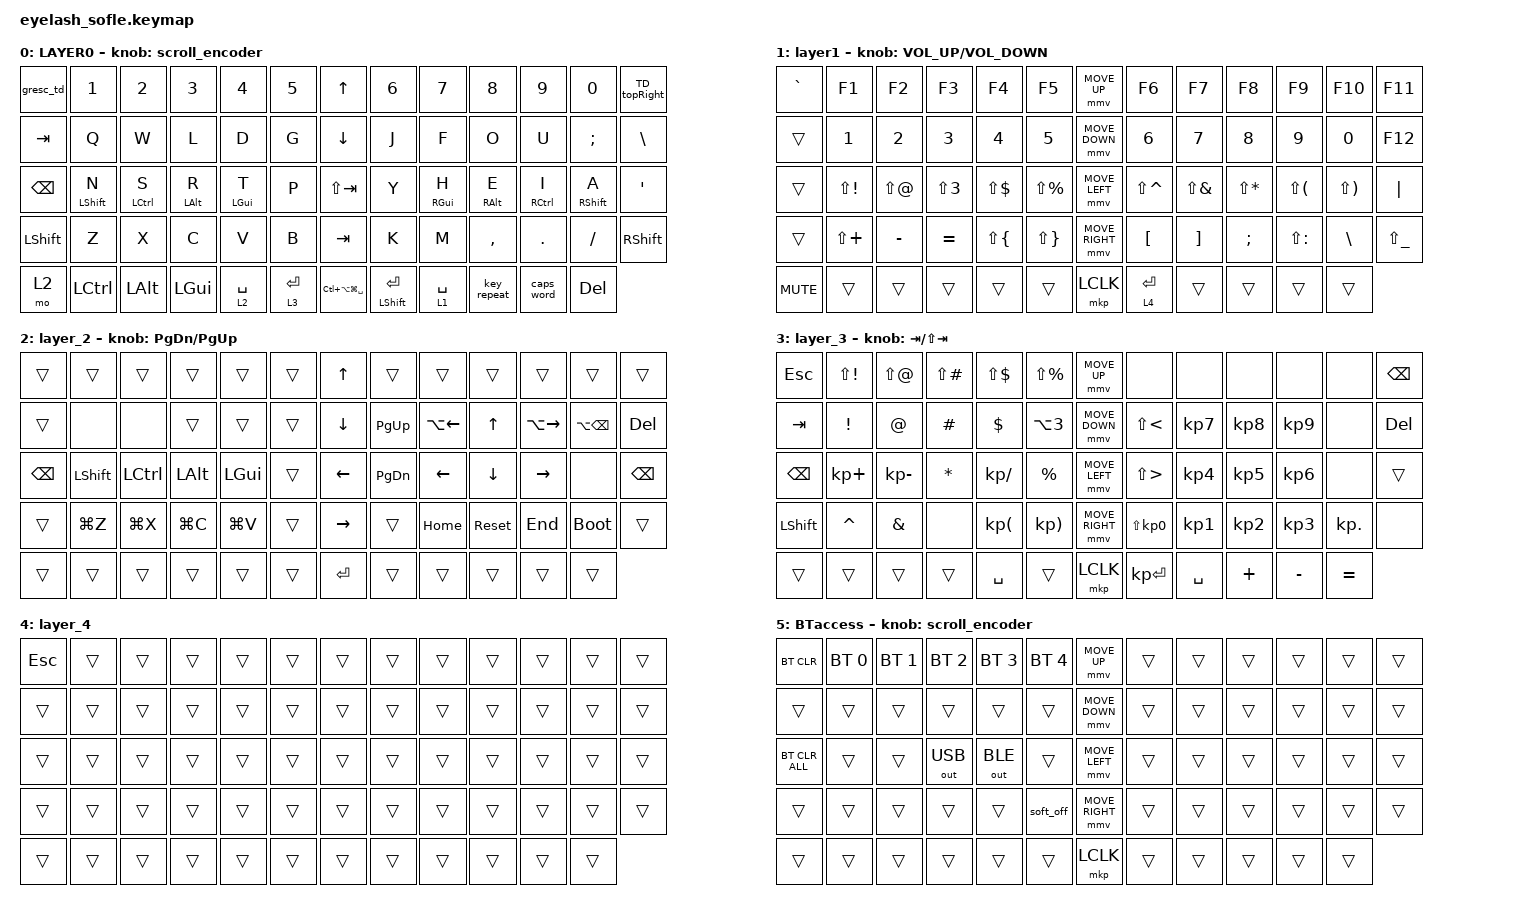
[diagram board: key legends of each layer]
#define ZMK_POINTING_DEFAULT_MOVE_VAL 1200  // 600
#define ZMK_POINTING_DEFAULT_SCRL_VAL 25   // 10

#include <input/processors.dtsi>
#include <zephyr/dt-bindings/input/input-event-codes.h>
#include <behaviors.dtsi>
#include <dt-bindings/zmk/bt.h>
#include <dt-bindings/zmk/keys.h>
#include <dt-bindings/zmk/outputs.h>
#include <dt-bindings/zmk/pointing.h>

&mmv_input_listener { input-processors = <&zip_xy_scaler 2 1>; };

&msc_input_listener { input-processors = <&zip_scroll_scaler 2 1>; };

&msc {
    acceleration-exponent = <1>;      // 0
    time-to-max-speed-ms = <100>;       // 300
    delay-ms = <0>;                   // 0
};

&mmv {
    time-to-max-speed-ms = <500>;
    acceleration-exponent = <1>;
    trigger-period-ms = <16>;
};

&gresc { keep-mods = <(MOD_LGUI|MOD_LSFT|MOD_RSFT|MOD_RGUI)>; };

&mt {
    tapping-term-ms = <165>;
    flavor = "balanced";
};

&sk {
};

/ {
    scroll_encoder: scroll_encoder {
        compatible = "zmk,behavior-sensor-rotate";
        #sensor-binding-cells = <0>;
        bindings = <&msc SCRL_UP>, <&msc SCRL_DOWN>;

        tap-ms = <100>;
        label = "mouseScroll";
    };

    gresc_td: gresc_td {
        compatible = "zmk,behavior-tap-dance";
        label = "GRESC_TD";
        #binding-cells = <0>;
        tapping-term-ms = <150>;
        bindings = <&gresc>, <&kp ESC>;
    };

    TD_topRight: TD_topRight {
        compatible = "zmk,behavior-tap-dance";
        label = "TD_TOPRIGHT";
        #binding-cells = <0>;
        bindings = <&TH_forceQuit 0 ESCAPE>, <&TH_screenEject 0 0>;
    };

    TH_forceQuit: TH_forceQuit {
        compatible = "zmk,behavior-hold-tap";
        label = "TH_FORCEQUIT";
        bindings = <&M_force_quit>, <&kp>;

        #binding-cells = <2>;
        tapping-term-ms = <350>;
    };

    TH_screenEject: TH_screenEject {
        compatible = "zmk,behavior-hold-tap";
        label = "TH_SCREENEJECT";
        bindings = <&M_ejectAll>, <&screensaver>;

        #binding-cells = <2>;
        tapping-term-ms = <300>;
    };

    TD_layerOrKey: TD_layerOrKey {
        compatible = "zmk,behavior-hold-tap";
        label = "TD_LAYERORKEY";
        bindings = <&lt>, <&sk>;

        #binding-cells = <2>;
        tapping-term-ms = <100>;
    };

    mt_l: mt_l {
        compatible = "zmk,behavior-hold-tap";
        label = "MT_L";
        bindings = <&kp>, <&kp>;

        #binding-cells = <2>;
        tapping-term-ms = <200>;
        require-prior-idle-ms = <150>;
        flavor = "balanced";
        hold-trigger-key-positions = <7 8 9 10 11 20 21 22 23 24 33 34 35 36 37 46 47 48 49 25 38 50 60 59>;
        hold-trigger-on-release;
        quick-tap-ms = <175>;
    };

    mt_r: mt_r {
        compatible = "zmk,behavior-hold-tap";
        label = "MT_R";
        bindings = <&kp>, <&kp>;

        #binding-cells = <2>;
        tapping-term-ms = <200>;
        require-prior-idle-ms = <150>;
        flavor = "balanced";
        hold-trigger-key-positions = <1 2 3 4 5 14 15 16 17 18 27 28 29 30 31 40 41 42 43 44 26 13 0 56 57>;
        hold-trigger-on-release;
        quick-tap-ms = <175>;
    };

    behaviors {
    };

    combos {
        compatible = "zmk,combos";

        CapsWord {
            bindings = <&caps_word>;
            key-positions = <39 51>;
        };

        Undo {
            bindings = <&kp LG(Z)>;
            key-positions = <40 41>;
        };

        Cut {
            bindings = <&kp LG(X)>;
            key-positions = <41 42>;
        };

        Copy {
            bindings = <&kp LG(C)>;
            key-positions = <42 43>;
        };

        Paste {
            bindings = <&kp LG(V)>;
            key-positions = <43 44>;
        };

        CreateNew {
            bindings = <&kp LG(N)>;
            key-positions = <27 28>;
        };

        SelectAll {
            bindings = <&kp LG(A)>;
            key-positions = <39 27>;
        };

        SelectAll_v2 {
            bindings = <&kp LG(A)>;
            key-positions = <51 37>;
        };

        C_force_quit {
            bindings = <&M_force_quit>;
            key-positions = <55 54 0>;
        };
    };

    macros {
        M_force_quit: M_force_quit {
            compatible = "zmk,behavior-macro";
            #binding-cells = <0>;
            bindings =
                <&macro_press>,
                <&kp LEFT_COMMAND &kp LEFT_ALT &kp ESC>,
                <&macro_release>;

            label = "M_FORCE_QUIT";
        };

        M_ejectAll: M_ejectAll {
            compatible = "zmk,behavior-macro";
            #binding-cells = <0>;
            bindings =
                <&kp LG(SPACE)>,
                <&macro_wait_time 400>,
                <&kp E &kp J &kp E &kp C &kp T &kp A &kp L &kp L>,
                <&macro_wait_time 200>,
                <&kp ENTER>;

            label = "M_EJECTALL";
        };

        screensaver: screensaver {
            compatible = "zmk,behavior-macro";
            #binding-cells = <0>;
            bindings =
                <&kp LG(SPACE)>,
                <&macro_wait_time 400>,
                <&kp S &kp C &kp R &kp E &kp E &kp N &kp S &kp A &kp V &kp E &kp R>,
                <&macro_wait_time 200>,
                <&kp ENTER>;

            label = "SCREENSAVER";
        };
    };

    keymap {
        compatible = "zmk,keymap";

        layer0 {
            bindings = <
&gresc_td      &kp N1          &kp N2         &kp N3            &kp N4        &kp N5         &kp UP_ARROW           &kp N6                &kp N7        &kp N8             &kp N9         &kp N0               &TD_topRight
&kp TAB        &kp Q           &kp W          &kp L             &kp D         &kp G          &kp DOWN_ARROW         &kp J                 &kp F         &kp O              &kp U          &kp SEMI             &kp BSLH
&kp BACKSPACE  &mt_l LSHIFT N  &mt_l LCTRL S  &mt_l LEFT_ALT R  &mt_l LGUI T  &kp P          &kp LS(TAB)            &kp Y                 &mt_r RGUI H  &mt_r RIGHT_ALT E  &mt_r RCTRL I  &mt_r RIGHT_SHIFT A  &kp SQT
&kp LSHFT      &kp Z           &kp X          &kp C             &kp V         &kp B          &kp TAB                &kp K                 &kp M         &kp COMMA          &kp DOT        &kp FSLH             &kp RSHFT
&mo 2          &kp LCTRL       &kp LEFT_ALT   &kp LEFT_GUI      &lt 2 SPACE   &lt 3 ENTER    &kp LC(LA(LG(SPACE)))  &mt LEFT_SHIFT ENTER  &lt 1 SPACE   &key_repeat        &caps_word     &kp DELETE
            >;

            sensor-bindings = <&scroll_encoder>;
            display-name = "LAYER0";
        };

        layer_1 {
            bindings = <
&kp GRAVE   &kp F1        &kp F2      &kp F3      &kp F4        &kp F5           &mmv MOVE_UP     &kp F6         &kp F7        &kp F8        &kp F9         &kp F10       &kp F11
&trans      &kp N1        &kp N2      &kp N3      &kp N4        &kp N5           &mmv MOVE_DOWN   &kp N6         &kp N7        &kp N8        &kp N9         &kp N0        &kp F12
&trans      &kp LS(EXCL)  &kp LS(AT)  &kp LS(N3)  &kp LS(DLLR)  &kp LS(PRCNT)    &mmv MOVE_LEFT   &kp LS(CARET)  &kp LS(AMPS)  &kp LS(STAR)  &kp LS(LPAR)   &kp LS(RPAR)  &kp PIPE
&trans      &kp LS(PLUS)  &kp MINUS   &kp EQUAL   &kp LS(LBRC)  &kp LS(RBRC)     &mmv MOVE_RIGHT  &kp LBKT       &kp RBKT      &kp SEMI      &kp LS(COLON)  &kp BSLH      &kp LS(UNDER)
&kp C_MUTE  &trans        &trans      &trans      &trans        &trans           &mkp LCLK        &lt 4 ENTER    &trans        &trans        &trans         &trans
            >;

            display-name = "layer1";
            sensor-bindings = <&inc_dec_kp C_VOLUME_UP C_VOLUME_DOWN>;
        };

        layer_2 {
            bindings = <
&trans         &trans     &trans     &trans     &trans     &trans    &kp UP     &trans     &trans        &trans      &trans         &trans        &trans
&trans         &none      &none      &trans     &trans     &trans    &kp DOWN   &kp PG_UP  &kp LA(LEFT)  &kp UP      &kp LA(RIGHT)  &kp LA(BSPC)  &kp DEL
&kp BACKSPACE  &kp LSHFT  &kp LCTRL  &kp LALT   &kp LGUI   &trans    &kp LEFT   &kp PG_DN  &kp LEFT      &kp DOWN    &kp RIGHT      &none         &kp BSPC
&trans         &kp LG(Z)  &kp LG(X)  &kp LG(C)  &kp LG(V)  &trans    &kp RIGHT  &trans     &kp HOME      &sys_reset  &kp END        &bootloader   &trans
&trans         &trans     &trans     &trans     &trans     &trans    &kp ENTER  &trans     &trans        &trans      &trans         &trans
            >;

            sensor-bindings = <&inc_dec_kp PAGE_DOWN PAGE_UP>;
        };

        layer_3 {
            bindings = <
&kp ESC    &kp LS(EXCL)  &kp LS(AT)     &kp LS(POUND)  &kp LS(DLLR)             &kp LS(PRCNT)               &mmv MOVE_UP     &none                 &none            &none            &none            &none       &kp BSPC
&kp TAB    &kp EXCL      &kp AT         &kp POUND      &kp DOLLAR               &kp LA(NUMBER_3)            &mmv MOVE_DOWN   &kp LS(LESS_THAN)     &kp KP_NUMBER_7  &kp KP_NUMBER_8  &kp KP_NUMBER_9  &none       &kp DEL
&kp BSPC   &kp KP_PLUS   &kp KP_MINUS   &kp STAR       &kp KP_SLASH             &kp PERCENT                 &mmv MOVE_LEFT   &kp LS(GREATER_THAN)  &kp KP_NUMBER_4  &kp KP_NUMBER_5  &kp KP_NUMBER_6  &none       &trans
&kp LSHFT  &kp CARET     &kp AMPERSAND  &none          &kp KP_LEFT_PARENTHESIS  &kp KP_RIGHT_PARENTHESIS    &mmv MOVE_RIGHT  &kp LS(KP_NUMBER_0)   &kp KP_NUMBER_1  &kp KP_NUMBER_2  &kp KP_NUMBER_3  &kp KP_DOT  &none
&trans     &trans        &trans         &trans         &kp SPACE                &trans                      &mkp LCLK        &kp KP_ENTER          &kp SPACE        &kp PLUS         &kp MINUS        &kp EQUAL
            >;

            sensor-bindings = <&inc_dec_kp TAB LS(TAB)>;
        };

        layer_4 {
            bindings = <
&kp ESC  &trans  &trans  &trans  &trans  &trans    &trans  &trans  &trans  &trans  &trans  &trans  &trans
&trans   &trans  &trans  &trans  &trans  &trans    &trans  &trans  &trans  &trans  &trans  &trans  &trans
&trans   &trans  &trans  &trans  &trans  &trans    &trans  &trans  &trans  &trans  &trans  &trans  &trans
&trans   &trans  &trans  &trans  &trans  &trans    &trans  &trans  &trans  &trans  &trans  &trans  &trans
&trans   &trans  &trans  &trans  &trans  &trans    &trans  &trans  &trans  &trans  &trans  &trans
            >;
        };

        BTaccess {
            bindings = <
&bt BT_CLR      &bt BT_SEL 0  &bt BT_SEL 1  &bt BT_SEL 2  &bt BT_SEL 3  &bt BT_SEL 4    &mmv MOVE_UP     &trans  &trans  &trans  &trans  &trans  &trans
&trans          &trans        &trans        &trans        &trans        &trans          &mmv MOVE_DOWN   &trans  &trans  &trans  &trans  &trans  &trans
&bt BT_CLR_ALL  &trans        &trans        &out OUT_USB  &out OUT_BLE  &trans          &mmv MOVE_LEFT   &trans  &trans  &trans  &trans  &trans  &trans
&trans          &trans        &trans        &trans        &trans        &soft_off       &mmv MOVE_RIGHT  &trans  &trans  &trans  &trans  &trans  &trans
&trans          &trans        &trans        &trans        &trans        &trans          &mkp LCLK        &trans  &trans  &trans  &trans  &trans
            >;

            sensor-bindings = <&scroll_encoder>;
        };
    };

    conditional_layers {
        compatible = "zmk,conditional-layers";

        BTaccess {
            if-layers = <2 3>;
            then-layer = <5>;
        };
    };
};
